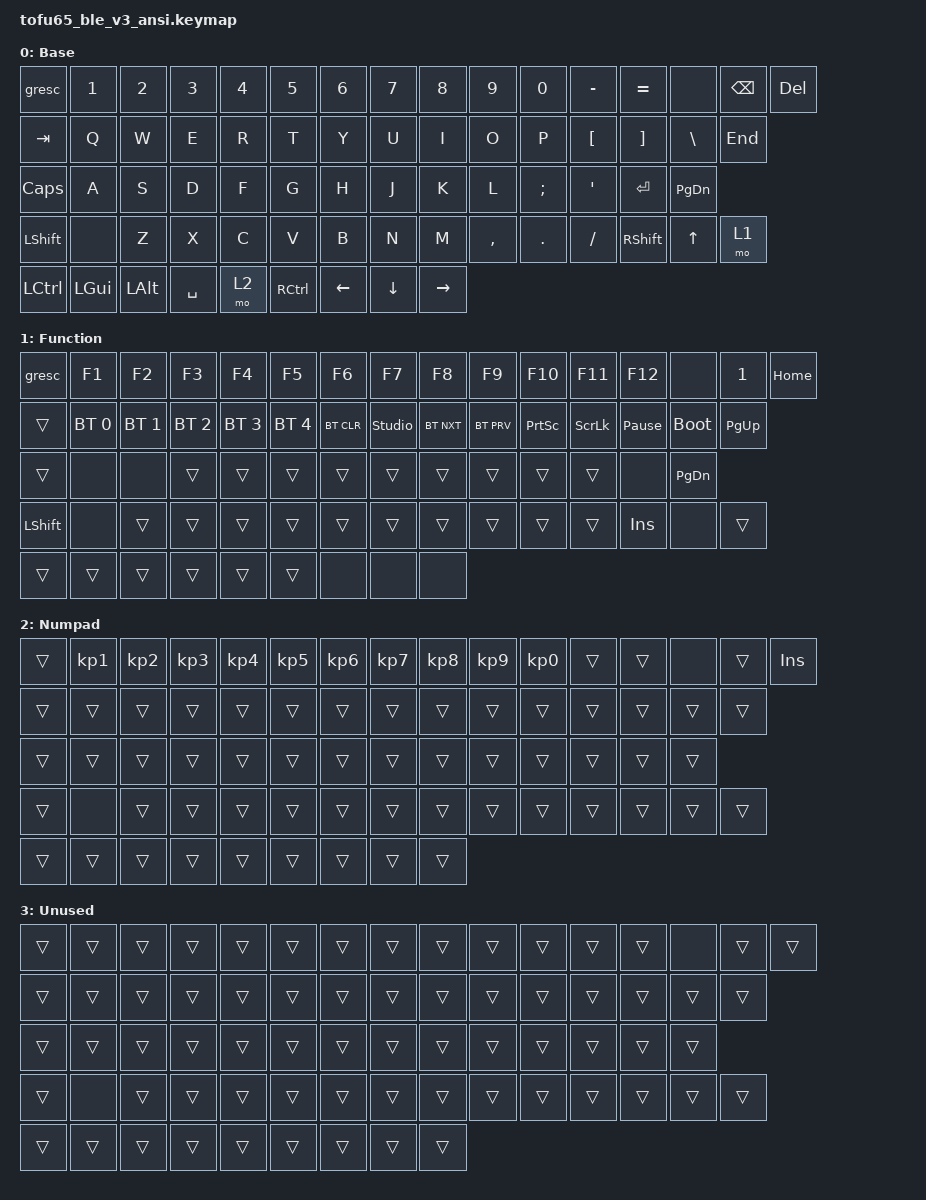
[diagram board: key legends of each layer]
/*
 * Tofu65 3.0 BLE ANSI user keymap: KBD67 Lite VIA migration
 *
 * PLACE IN: config/tofu65_ble_v3_ansi.keymap
 * UPSTREAM: https://github.com/faytahl/zmk-config-tofu65-ble-3.0
 * TARGET: board klink + shield tofu65_ble_v3_ansi
 *
 * Maintains four VIA layers: Base, Function, Numpad, Unused.
 * Replaces old RGB controls in Layer 1 with BT profile and Studio controls.
 * The VIA custom keycode 0x5cde (Function+Enter) remains inactive.
 *
 * The Tofu65 3.0 ANSI firmware expects 69 matrix positions for this layout.
 * There are two unused split-key positions, #13 and #46 (zero-based),
 * corresponding to optional split Backspace and optional split Left Shift.
 * They MUST remain as &none entries to keep the physical mapping aligned.
 *
 * Built for the community klink/tofu65_ble_v3_ansi configuration.
 * Verify actual keys after flashing; the new version is not yet test-flashed.
 */

#include <behaviors.dtsi>
#include <dt-bindings/zmk/keys.h>
#include <dt-bindings/zmk/bt.h>

#define L_BASE 0
#define L_FUNCTION 1
#define L_NUMPAD 2
#define L_UNUSED 3

&gresc {
    keep-mods = <(MOD_LSFT | MOD_RSFT)>;
};

/ {
    keymap {
        compatible = "zmk,keymap";
        // Your existing layers remain here
    };
};

/ {
    keymap {
        compatible = "zmk,keymap";

        layer_0 {
            display-name = "Base";
            bindings = <
                /* Row 0 */ &gresc                &kp N1                &kp N2                &kp N3                &kp N4                &kp N5                &kp N6                &kp N7                &kp N8                &kp N9                &kp N0                &kp MINUS             &kp EQUAL             &none                 &kp BACKSPACE         &kp DELETE
                /* Row 1 */ &kp TAB               &kp Q                 &kp W                 &kp E                 &kp R                 &kp T                 &kp Y                 &kp U                 &kp I                 &kp O                 &kp P                 &kp LEFT_BRACKET      &kp RIGHT_BRACKET     &kp BACKSLASH         &kp END
                /* Row 2 */ &kp CAPSLOCK          &kp A                 &kp S                 &kp D                 &kp F                 &kp G                 &kp H                 &kp J                 &kp K                 &kp L                 &kp SEMICOLON         &kp SINGLE_QUOTE      &kp ENTER             &kp PAGE_DOWN
                /* Row 3 */ &kp LEFT_SHIFT        &none                 &kp Z                 &kp X                 &kp C                 &kp V                 &kp B                 &kp N                 &kp M                 &kp COMMA             &kp PERIOD            &kp SLASH             &kp RIGHT_SHIFT       &kp UP                &mo 1
                /* Row 4 */ &kp LEFT_CONTROL      &kp LEFT_GUI          &kp LEFT_ALT          &kp SPACE             &mo 2                 &kp RIGHT_CONTROL     &kp LEFT              &kp DOWN              &kp RIGHT
            >;
        };

        layer_1 {
            display-name = "Function";
            bindings = <
                /* Row 0 */ &gresc                &kp F1                &kp F2                &kp F3                &kp F4                &kp F5                &kp F6                &kp F7                &kp F8                &kp F9                &kp F10               &kp F11               &kp F12               &none                 &kp N1                &kp HOME
                /* Row 1 */ &trans                &bt BT_SEL 0          &bt BT_SEL 1          &bt BT_SEL 2          &bt BT_SEL 3          &bt BT_SEL 4          &bt BT_CLR            &studio_unlock        &bt BT_NXT            &bt BT_PRV            &kp PRINTSCREEN       &kp SCROLLLOCK        &kp PAUSE_BREAK       &bootloader           &kp PAGE_UP
                /* Row 2 */ &trans                &none                 &none                 &trans                &trans                &trans                &trans                &trans                &trans                &trans                &trans                &trans                &none                 &kp PAGE_DOWN
                /* Row 3 */ &kp LEFT_SHIFT        &none                 &trans                &trans                &trans                &trans                &trans                &trans                &trans                &trans                &trans                &trans                &kp INSERT            &none                 &trans
                /* Row 4 */ &trans                &trans                &trans                &trans                &trans                &trans                &none                 &none                 &none
            >;
        };

        layer_2 {
            display-name = "Numpad";
            bindings = <
                /* Row 0 */ &trans                &kp KP_N1             &kp KP_N2             &kp KP_N3             &kp KP_N4             &kp KP_N5             &kp KP_N6             &kp KP_N7             &kp KP_N8             &kp KP_N9             &kp KP_N0             &trans                &trans                &none                 &trans                &kp INSERT
                /* Row 1 */ &trans                &trans                &trans                &trans                &trans                &trans                &trans                &trans                &trans                &trans                &trans                &trans                &trans                &trans                &trans
                /* Row 2 */ &trans                &trans                &trans                &trans                &trans                &trans                &trans                &trans                &trans                &trans                &trans                &trans                &trans                &trans
                /* Row 3 */ &trans                &none                 &trans                &trans                &trans                &trans                &trans                &trans                &trans                &trans                &trans                &trans                &trans                &trans                &trans
                /* Row 4 */ &trans                &trans                &trans                &trans                &trans                &trans                &trans                &trans                &trans
            >;
        };

        layer_3 {
            display-name = "Unused";
            bindings = <
                /* Row 0 */ &trans                &trans                &trans                &trans                &trans                &trans                &trans                &trans                &trans                &trans                &trans                &trans                &trans                &none                 &trans                &trans
                /* Row 1 */ &trans                &trans                &trans                &trans                &trans                &trans                &trans                &trans                &trans                &trans                &trans                &trans                &trans                &trans                &trans
                /* Row 2 */ &trans                &trans                &trans                &trans                &trans                &trans                &trans                &trans                &trans                &trans                &trans                &trans                &trans                &trans
                /* Row 3 */ &trans                &none                 &trans                &trans                &trans                &trans                &trans                &trans                &trans                &trans                &trans                &trans                &trans                &trans                &trans
                /* Row 4 */ &trans                &trans                &trans                &trans                &trans                &trans                &trans                &trans                &trans
            >;
        };
    };
};
